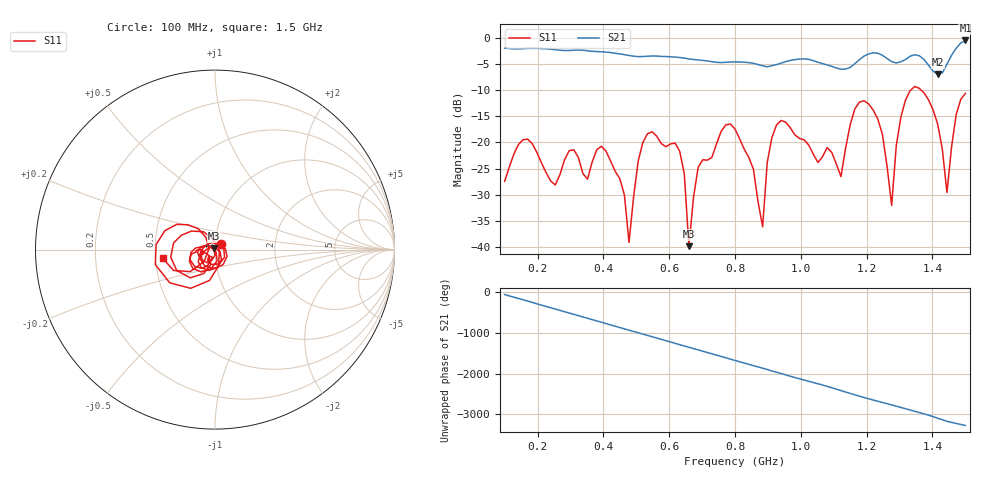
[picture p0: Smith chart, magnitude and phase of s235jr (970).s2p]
! NanoVNA-App
! Date: 2025-09-25 15:11:43
! Start: 100MHz Stop: 1,5GHz Points: 101
! S-Parameter data: F S11 S21 S12 S22
# Hz S RI R 50
!  Frequency  S11_Real  S11_Imag  S21_Real  S21_Imag  S12_Real  S12_Imag  S22_Real  S22_Imag
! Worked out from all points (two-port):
!   101 points, 100 MHz to 1.5 GHz, reference 50 ohm
!   highest |S21| = -0.48 dB at 1.5 GHz (marker M1); lowest = -7.0 dB at 1.416 GHz (marker M2)
!   |S21| within 3 dB of the highest: start of sweep to 491 MHz; 1.192 GHz to 1.252 GHz (59.7 MHz wide, 4.89 % of centre) (the widest 2 of 5)
!   lowest |S11| = -39.9 dB at 660 MHz (marker M3), VSWR 1.02, Z = 49.2 + j0.606 ohm
!   |S11| at or under -10 dB: start of sweep to 1.334 GHz; 1.366 GHz to end of sweep
!   S12 and S22 are empty: the file has one direction only
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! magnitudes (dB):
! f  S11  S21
! 100 MHz  -27.5  -2.0
! 170 MHz  -19.4  -2.0
! 338 MHz  -26.0  -2.4
! 408 MHz  -21.7  -2.7
! 478 MHz  -39.1  -3.4
! 520 MHz  -20.0  -3.6
! 576 MHz  -20.2  -3.5
! 632 MHz  -21.7  -3.7
! 660 MHz  -39.9  -4.0
! 688 MHz  -24.8  -4.2
! 800 MHz  -17.4  -4.6
! 884 MHz  -36.2  -5.3
! 926 MHz  -16.7  -5.1
! 1.038 GHz  -22.3  -4.4
! 1.122 GHz  -26.6  -6.0
! 1.192 GHz  -12.0  -3.5
! 1.248 GHz  -18.5  -3.3
! 1.276 GHz  -32.1  -4.5
! 1.332 GHz  -10.1  -3.5
! 1.416 GHz  -16.5  -7.0
! 1.444 GHz  -29.6  -5.0
! 1.5 GHz  -10.6  -0.5
